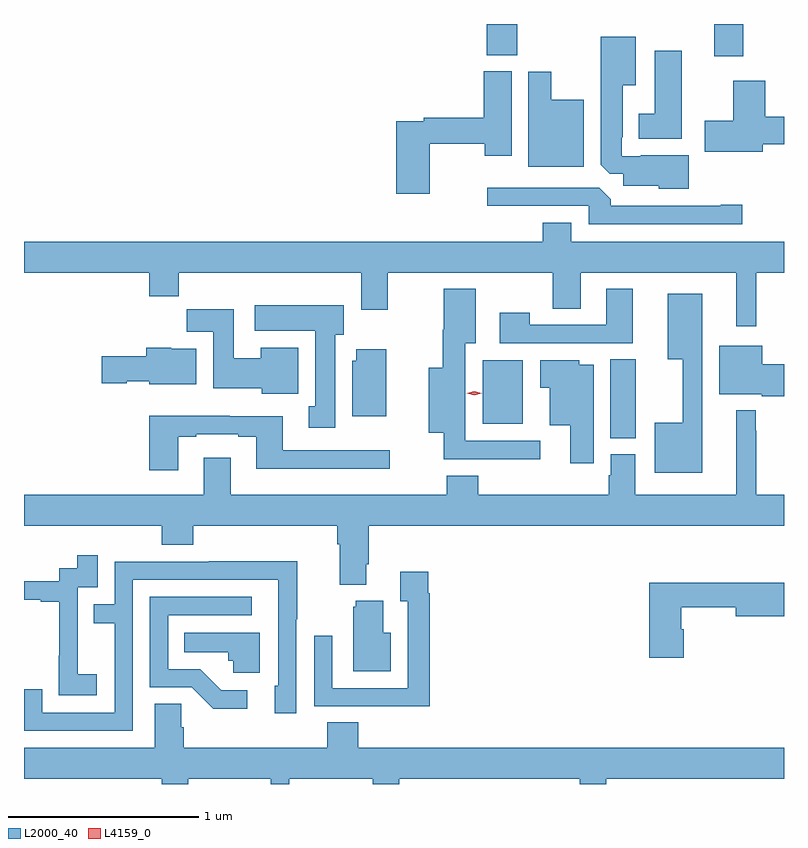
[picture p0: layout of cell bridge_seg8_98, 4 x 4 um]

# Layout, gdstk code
import gdstk
lib = gdstk.Library(unit=1e-6, precision=1e-09)
def R(c, l, rs):  # rectangles x0, y0, x1, y1
    for r in rs: c.add(gdstk.rectangle(r[:2], r[2:], *l))
def P(c, l, *ps):  # polygons
    for p in ps: c.add(gdstk.Polygon(p, *l))
L2000_40 = (2000, 40)
L4159_0 = (4159, 0)

bridge_seg8_98 = lib.new_cell('bridge_seg8_98')
R(bridge_seg8_98, L2000_40, [(691.49,1156.921,691.624,1157.336), (690.818,1156.997,691.03,1157.332), (692.036,1158.93,692.189,1159.101), (690.839,1158.937,690.999,1159.101)])
P(bridge_seg8_98, L2000_40, [(691.903,1158.409),(691.651,1158.409),(691.651,1158.405),(691.551,1158.405),(691.551,1158.505),(691.555,1158.505),(691.555,1158.779),(691.624,1158.779),(691.624,1159.033),(691.439,1159.033),(691.439,1158.361),(691.488,1158.312),(691.559,1158.312),(691.559,1158.251),(691.746,1158.251),(691.746,1158.233),(691.903,1158.233)],
  [(691.867,1158.961),(691.724,1158.961),(691.724,1158.628),(691.64,1158.628),(691.64,1158.497),(691.867,1158.497)],
  [(690.54,1158.472),(690.829,1158.472),(690.829,1158.408),(690.97,1158.408),(690.97,1158.852),(690.824,1158.852),(690.824,1158.608),(690.508,1158.608),(690.508,1158.588),(690.362,1158.588),(690.362,1158.207),(690.54,1158.207)],
  [(691.351,1158.703),(691.18,1158.703),(691.18,1158.85),(691.058,1158.85),(691.058,1158.35),(691.351,1158.35)],
  [(692.293,1158.467),(692.404,1158.467),(692.404,1158.614),(692.306,1158.614),(692.306,1158.802),(692.138,1158.802),(692.138,1158.591),(691.986,1158.591),(691.986,1158.428),(692.293,1158.428)],
  [(692.185,1158.149),(692.072,1158.149),(692.072,1158.144),(691.493,1158.144),(691.493,1158.178),(691.431,1158.24),(690.843,1158.24),(690.843,1158.144),(691.377,1158.144),(691.377,1158.048),(692.185,1158.048)],
  [(692.257,1157.792),(692.404,1157.792),(692.404,1157.956),(691.285,1157.956),(691.285,1158.055),(691.133,1158.055),(691.133,1157.956),(688.404,1157.956),(688.404,1157.792),(689.063,1157.792),(689.063,1157.668),(689.219,1157.668),(689.219,1157.792),(690.179,1157.792),(690.179,1157.598),(690.319,1157.598),(690.319,1157.792),(691.186,1157.792),(691.186,1157.602),(691.333,1157.602),(691.333,1157.792),(692.153,1157.792),(692.153,1157.511),(692.257,1157.511)],
  [(691.609,1157.707),(691.469,1157.707),(691.469,1157.517),(691.065,1157.517),(691.065,1157.581),(690.909,1157.581),(690.909,1157.421),(691.609,1157.421)],
  [(691.12,1156.908),(690.727,1156.908),(690.727,1157.42),(690.781,1157.42),(690.781,1157.707),(690.614,1157.707),(690.614,1157.492),(690.607,1157.492),(690.607,1157.293),(690.533,1157.293),(690.533,1156.949),(690.614,1156.949),(690.614,1156.811),(691.12,1156.811)],
  [(691.975,1157.68),(691.793,1157.68),(691.793,1157.336),(691.871,1157.336),(691.871,1157.002),(691.724,1157.002),(691.724,1156.739),(691.975,1156.739)],
  [(690.043,1157.466),(690.088,1157.466),(690.088,1157.62),(689.619,1157.62),(689.619,1157.486),(689.936,1157.486),(689.936,1157.09),(689.903,1157.09),(689.903,1156.977),(690.043,1156.977)],
  [(689.848,1157.398),(689.651,1157.398),(689.651,1157.341),(689.509,1157.341),(689.509,1157.599),(689.26,1157.599),(689.26,1157.48),(689.399,1157.48),(689.399,1157.183),(689.655,1157.183),(689.655,1157.156),(689.848,1157.156)],
  [(692.404,1157.311),(692.29,1157.311),(692.29,1157.407),(692.063,1157.407),(692.063,1157.153),(692.286,1157.153),(692.286,1157.143),(692.404,1157.143)],
  [(689.311,1157.392),(689.178,1157.392),(689.178,1157.398),(689.048,1157.398),(689.048,1157.352),(688.812,1157.352),(688.812,1157.21),(688.944,1157.21),(688.944,1157.222),(689.064,1157.222),(689.064,1157.204),(689.311,1157.204)],
  [(690.31,1157.389),(690.152,1157.389),(690.152,1157.328),(690.131,1157.328),(690.131,1157.036),(690.31,1157.036)],
  [(691.402,1157.308),(691.326,1157.308),(691.326,1157.332),(691.121,1157.332),(691.121,1157.186),(691.172,1157.186),(691.172,1156.988),(691.28,1156.988),(691.28,1156.788),(691.402,1156.788)],
  [(690.205,1156.258),(690.218,1156.258),(690.218,1156.46),(692.404,1156.46),(692.404,1156.624),(692.257,1156.624),(692.257,1156.961),(692.256,1156.961),(692.256,1157.068),(692.153,1157.068),(692.153,1156.624),(691.621,1156.624),(691.621,1156.836),(691.493,1156.836),(691.493,1156.725),(691.481,1156.725),(691.481,1156.624),(690.794,1156.624),(690.794,1156.723),(690.629,1156.723),(690.629,1156.624),(689.491,1156.624),(689.491,1156.819),(689.351,1156.819),(689.351,1156.624),(688.404,1156.624),(688.404,1156.46),(689.129,1156.46),(689.129,1156.361),(689.294,1156.361),(689.294,1156.46),(690.053,1156.46),(690.053,1156.364),(690.065,1156.364),(690.065,1156.151),(690.205,1156.151)],
  [(689.215,1156.929),(689.311,1156.929),(689.311,1156.941),(689.531,1156.941),(689.531,1156.929),(689.627,1156.929),(689.627,1156.76),(690.328,1156.76),(690.328,1156.857),(689.767,1156.857),(689.767,1157.037),(689.487,1157.037),(689.487,1157.038),(689.063,1157.038),(689.063,1156.752),(689.215,1156.752)],
  [(688.786,1155.679),(688.688,1155.679),(688.688,1155.908),(688.686,1155.908),(688.686,1156.137),(688.791,1156.137),(688.791,1156.306),(688.683,1156.306),(688.683,1156.236),(688.59,1156.236),(688.59,1156.167),(688.404,1156.167),(688.404,1156.071),(688.493,1156.071),(688.493,1156.059),(688.589,1156.059),(688.589,1155.775),(688.588,1155.775),(688.588,1155.569),(688.786,1155.569)],
  [(688.977,1156.176),(689.741,1156.176),(689.741,1155.964),(689.742,1155.964),(689.742,1155.618),(689.723,1155.618),(689.723,1155.474),(689.838,1155.474),(689.838,1155.967),(689.841,1155.967),(689.841,1156.274),(689.377,1156.274),(689.377,1156.272),(688.881,1156.272),(688.881,1156.047),(688.771,1156.047),(688.771,1155.946),(688.881,1155.946),(688.881,1155.477),(688.5,1155.477),(688.5,1155.6),(688.404,1155.6),(688.404,1155.381),(688.977,1155.381)],
  [(690.539,1156.106),(690.532,1156.106),(690.532,1156.219),(690.383,1156.219),(690.383,1156.063),(690.423,1156.063),(690.423,1155.606),(690.027,1155.606),(690.027,1155.88),(689.931,1155.88),(689.931,1155.51),(690.247,1155.51),(690.247,1155.509),(690.539,1155.509)],
  [(691.877,1155.915),(691.864,1155.915),(691.864,1156.03),(692.15,1156.03),(692.15,1155.983),(692.404,1155.983),(692.404,1156.159),(691.694,1156.159),(691.694,1155.765),(691.877,1155.765)],
  [(689.578,1155.594),(689.443,1155.594),(689.332,1155.705),(689.163,1155.705),(689.163,1155.99),(689.602,1155.99),(689.602,1156.086),(689.067,1156.086),(689.067,1155.609),(689.286,1155.609),(689.399,1155.497),(689.578,1155.497)],
  [(690.334,1155.898),(690.295,1155.898),(690.295,1156.066),(690.149,1156.066),(690.149,1156.035),(690.137,1156.035),(690.137,1155.695),(690.334,1155.695)],
  [(689.644,1155.898),(689.248,1155.898),(689.248,1155.794),(689.479,1155.794),(689.479,1155.75),(689.505,1155.75),(689.505,1155.686),(689.644,1155.686)],
  [(689.269,1155.128),(689.703,1155.128),(689.703,1155.101),(689.8,1155.101),(689.8,1155.128),(690.239,1155.128),(690.239,1155.101),(690.379,1155.101),(690.379,1155.128),(691.329,1155.128),(691.329,1155.101),(691.468,1155.101),(691.468,1155.128),(692.404,1155.128),(692.404,1155.292),(690.164,1155.292),(690.164,1155.425),(689.999,1155.425),(689.999,1155.292),(689.246,1155.292),(689.246,1155.401),(689.232,1155.401),(689.232,1155.524),(689.093,1155.524),(689.093,1155.292),(688.404,1155.292),(688.404,1155.128),(689.129,1155.128),(689.129,1155.101),(689.269,1155.101)])
P(bridge_seg8_98, L4159_0, [(690.773,1157.148),(690.733,1157.157),(690.733,1157.158),(690.733,1157.158),(690.773,1157.168),(690.813,1157.158),(690.813,1157.158),(690.813,1157.158)])

lib.write_gds('bridge_seg8_98.gds')
